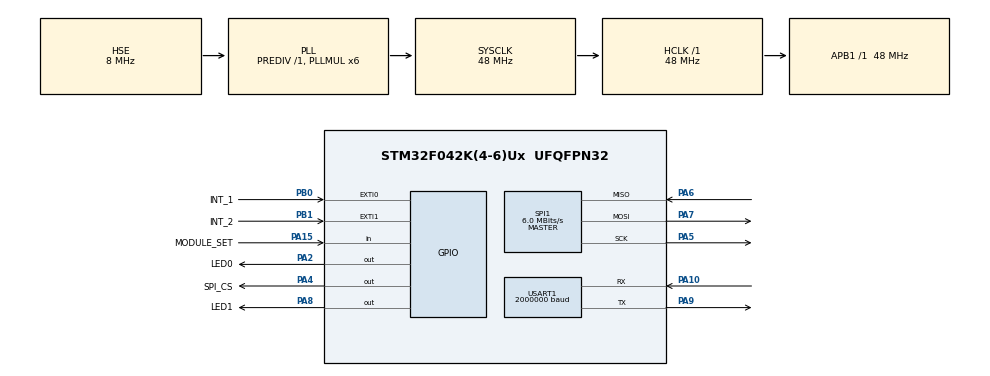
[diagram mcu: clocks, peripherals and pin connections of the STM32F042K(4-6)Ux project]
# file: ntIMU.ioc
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Dma.Request0=SPI1_RX
Dma.Request1=SPI1_TX
Dma.Request2=USART1_TX
Dma.SPI1_RX.0.Direction=DMA_PERIPH_TO_MEMORY
Dma.SPI1_RX.0.Instance=DMA1_Channel2
Dma.SPI1_RX.0.MemDataAlignment=DMA_MDATAALIGN_BYTE
Dma.SPI1_RX.0.MemInc=DMA_MINC_ENABLE
Dma.SPI1_RX.0.Mode=DMA_NORMAL
Dma.SPI1_RX.0.PeriphDataAlignment=DMA_PDATAALIGN_BYTE
Dma.SPI1_RX.0.PeriphInc=DMA_PINC_DISABLE
Dma.SPI1_RX.0.Priority=DMA_PRIORITY_LOW
Dma.SPI1_TX.1.Direction=DMA_MEMORY_TO_PERIPH
Dma.SPI1_TX.1.Instance=DMA1_Channel3
Dma.SPI1_TX.1.MemDataAlignment=DMA_MDATAALIGN_BYTE
Dma.SPI1_TX.1.MemInc=DMA_MINC_ENABLE
Dma.SPI1_TX.1.Mode=DMA_NORMAL
Dma.SPI1_TX.1.PeriphDataAlignment=DMA_PDATAALIGN_BYTE
Dma.SPI1_TX.1.PeriphInc=DMA_PINC_DISABLE
Dma.SPI1_TX.1.Priority=DMA_PRIORITY_LOW
Dma.USART1_TX.2.Direction=DMA_MEMORY_TO_PERIPH
Dma.USART1_TX.2.Instance=DMA1_Channel4
Dma.USART1_TX.2.MemDataAlignment=DMA_MDATAALIGN_BYTE
Dma.USART1_TX.2.MemInc=DMA_MINC_ENABLE
Dma.USART1_TX.2.Mode=DMA_NORMAL
Dma.USART1_TX.2.PeriphDataAlignment=DMA_PDATAALIGN_BYTE
Dma.USART1_TX.2.PeriphInc=DMA_PINC_DISABLE
Dma.USART1_TX.2.Priority=DMA_PRIORITY_MEDIUM
Mcu.Family=STM32F0
Mcu.Name=STM32F042K(4-6)Ux
Mcu.Package=UFQFPN32
NVIC.DMA1_Channel2_3_IRQn=true\:0\:0\:false\:false\:true
NVIC.DMA1_Channel4_5_IRQn=true\:0\:0\:false\:false\:true
NVIC.EXTI0_1_IRQn=true\:1\:0\:true\:false\:true
NVIC.SPI1_IRQn=true\:1\:0\:true\:false\:true
NVIC.TIM16_IRQn=true\:2\:0\:true\:false\:true
NVIC.USART1_IRQn=true\:0\:0\:false\:false\:true
PA10.Mode=Asynchronous
PA10.Signal=USART1_RX
PA13.Mode=Serial_Wire
PA13.Signal=SYS_SWDIO
PA14.Mode=Serial_Wire
PA14.Signal=SYS_SWCLK
PA15.GPIO_Label=MODULE_SET
PA15.GPIO_PuPd=GPIO_PULLUP
PA15.Signal=GPIO_Input
PA2.GPIO_Label=LED0
PA2.GPIO_Speed=GPIO_SPEED_FREQ_HIGH
PA2.PinState=GPIO_PIN_SET
PA2.Signal=GPIO_Output
PA4.GPIO_Label=SPI_CS
PA4.GPIO_PuPd=GPIO_PULLUP
PA4.GPIO_Speed=GPIO_SPEED_FREQ_HIGH
PA4.PinState=GPIO_PIN_SET
PA4.Signal=GPIO_Output
PA5.Mode=Full_Duplex_Master
PA5.Signal=SPI1_SCK
PA6.Mode=Full_Duplex_Master
PA6.Signal=SPI1_MISO
PA7.Mode=Full_Duplex_Master
PA7.Signal=SPI1_MOSI
PA8.GPIO_Label=LED1
PA8.GPIO_Speed=GPIO_SPEED_FREQ_HIGH
PA8.PinState=GPIO_PIN_SET
PA8.Signal=GPIO_Output
PA9.Mode=Asynchronous
PA9.Signal=USART1_TX
PB0.GPIO_Label=INT_1
PB0.GPIO_ModeDefaultEXTI=GPIO_MODE_IT_RISING
PB0.Signal=GPXTI0
PB1.GPIO_Label=INT_2
PB1.Signal=GPXTI1
PF0-OSC_IN.Mode=HSE-External-Oscillator
PF0-OSC_IN.Signal=RCC_OSC_IN
PF1-OSC_OUT.Mode=HSE-External-Oscillator
PF1-OSC_OUT.Signal=RCC_OSC_OUT
ProjectManager.HeapSize=0x200
ProjectManager.StackSize=0x400
ProjectManager.TargetToolchain=SW4STM32
RCC.AHBFreq_Value=48000000
RCC.APB1Freq_Value=48000000
RCC.APB1TimFreq_Value=48000000
RCC.HCLKFreq_Value=48000000
RCC.PLLMUL=RCC_PLL_MUL6
RCC.PLLSourceVirtual=RCC_PLLSOURCE_HSE
RCC.SYSCLKFreq_VALUE=48000000
RCC.SYSCLKSource=RCC_SYSCLKSOURCE_PLLCLK
RCC.VDD_VALUE=3.3
SPI1.BaudRatePrescaler=SPI_BAUDRATEPRESCALER_8
SPI1.CalculateBaudRate=6.0 MBits/s
SPI1.DataSize=SPI_DATASIZE_8BIT
SPI1.Direction=SPI_DIRECTION_2LINES
SPI1.Mode=SPI_MODE_MASTER
SPI1.VirtualType=VM_MASTER
USART1.BaudRate=2000000
USART1.VirtualMode-Asynchronous=VM_ASYNC
USART1.WordLength=WORDLENGTH_8B
VP_TIM16_VS_ClockSourceINT.Mode=Enable_Timer
board=ntIMU

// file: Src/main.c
/**
  ******************************************************************************
  * File Name          : main.c
  * Description        : Main program body
  ******************************************************************************
  *
  * COPYRIGHT(c) 2017 STMicroelectronics
  *
  * Redistribution and use in source and binary forms, with or without modification,
  * are permitted provided that the following conditions are met:
  *   1. Redistributions of source code must retain the above copyright notice,
  *      this list of conditions and the following disclaimer.
  *   2. Redistributions in binary form must reproduce the above copyright notice,
  *      this list of conditions and the following disclaimer in the documentation
  *      and/or other materials provided with the distribution.
  *   3. Neither the name of STMicroelectronics nor the names of its contributors
  *      may be used to endorse or promote products derived from this software
  *      without specific prior written permission.
  *
  * THIS SOFTWARE IS PROVIDED BY THE COPYRIGHT HOLDERS AND CONTRIBUTORS "AS IS"
  * AND ANY EXPRESS OR IMPLIED WARRANTIES, INCLUDING, BUT NOT LIMITED TO, THE
  * IMPLIED WARRANTIES OF MERCHANTABILITY AND FITNESS FOR A PARTICULAR PURPOSE ARE
  * DISCLAIMED. IN NO EVENT SHALL THE COPYRIGHT HOLDER OR CONTRIBUTORS BE LIABLE
  * FOR ANY DIRECT, INDIRECT, INCIDENTAL, SPECIAL, EXEMPLARY, OR CONSEQUENTIAL
  * DAMAGES (INCLUDING, BUT NOT LIMITED TO, PROCUREMENT OF SUBSTITUTE GOODS OR
  * SERVICES; LOSS OF USE, DATA, OR PROFITS; OR BUSINESS INTERRUPTION) HOWEVER
  * CAUSED AND ON ANY THEORY OF LIABILITY, WHETHER IN CONTRACT, STRICT LIABILITY,
  * OR TORT (INCLUDING NEGLIGENCE OR OTHERWISE) ARISING IN ANY WAY OUT OF THE USE
  * OF THIS SOFTWARE, EVEN IF ADVISED OF THE POSSIBILITY OF SUCH DAMAGE.
  *
  ******************************************************************************
  */
#include "main.h"
#include "stm32f0xx_hal.h"
#include "dma.h"
#include "spi.h"
#include "tim.h"
#include "usart.h"
#include "gpio.h"

/* USER CODE BEGIN Includes */
#include "nt.h"
#include "lsm6dsl.h"
#include "myFunc.h"
#include "string.h"
/* USER CODE END Includes */

/* USER CODE BEGIN PV */
/* Private variables ---------------------------------------------------------*/
volatile uint8_t xgDRDY = 0;
volatile uint8_t rxChar;
ntImuConf imuConfig;
uint8_t connection = 255;
/* USER CODE END PV */

void SystemClock_Config(void);
void Error_Handler(void);

/* USER CODE BEGIN PFP */
/* Private function prototypes -----------------------------------------------*/
void UART_EnableRIT(UART_HandleTypeDef *huart);
/* USER CODE END PFP */

int main(void)
{

  /* MCU Configuration----------------------------------------------------------*/

  /* Reset of all peripherals, Initializes the Flash interface and the Systick. */
  HAL_Init();

  /* Configure the system clock */
  SystemClock_Config();

  /* Initialize all configured peripherals */
  MX_GPIO_Init();
  MX_DMA_Init();
  MX_SPI1_Init();
  MX_TIM16_Init();
  MX_USART1_UART_Init();

  /* USER CODE BEGIN 2 */
  imuConfig.ntUart = &huart1;
  ntInit(&imuConfig);
  UART_EnableRIT(&huart1);
	htim16.Init.Prescaler = 9999;
	if (imuConfig.myID == NTBUS_ID_IMU1) {
		htim16.Init.Period = (SystemCoreClock / (htim16.Init.Prescaler+1)) / 5 - 1;
	}
	else {
		htim16.Init.Period = (SystemCoreClock / (htim16.Init.Prescaler+1)) / 2 - 1;
	}
	if (HAL_TIM_Base_Init(&htim16) != HAL_OK)
	{
		Error_Handler();
	}
	while (LSM6DSL_Init(&hspi1));
	HAL_TIM_Base_Start_IT(&htim16);
  /* USER CODE END 2 */

  /* Infinite loop */
  /* USER CODE BEGIN WHILE */
  uint32_t start = HAL_GetTick();
  while (1)
  {
	int16_t acc[3], gyro[3], temperature;
	if(xgDRDY || ((HAL_GetTick() - start) > 1000)) {
		xgDRDY = 0;
		start = HAL_GetTick();
		uint8_t temp;
		LSM6DSL_ACC_GYRO_ReadReg(LSM6DSL_ACC_GYRO_STATUS_REG, &temp, 1);
		if (temp & 0x01) {
		  //read func
		  LSM6DSL_AccRaw(acc);
		  if ((-32768 < imuConfig.imuData->AccX && imuConfig.imuData->AccX < 32767) &&
				  (-32768 < imuConfig.imuData->AccY && imuConfig.imuData->AccY < 32767) &&
				  (-32768 < imuConfig.imuData->AccZ && imuConfig.imuData->AccZ < 32767)) {
			  imuConfig.imuData->ImuStatus |= NTBUS_IMU_IMUSTATUS_ACCDATA_OK;
			  imuConfig.imuData->ImuStatus &= ~(NTBUS_IMU_IMUSTATUS_ACC_CLIPPED);
		  }
		  else {
			  imuConfig.imuData->ImuStatus |= NTBUS_IMU_IMUSTATUS_ACC_CLIPPED;
			  imuConfig.imuData->ImuStatus &= ~(NTBUS_IMU_IMUSTATUS_ACCDATA_OK);
		  }
		}
		if (temp & 0x02) {
		  //read function
		  LSM6DSL_GyroRaw(gyro);
		  if ((-32768 < imuConfig.imuData->GyroX && imuConfig.imuData->GyroX < 32767) &&
							  (-32768 < imuConfig.imuData->GyroY && imuConfig.imuData->GyroY < 32767) &&
							  (-32768 < imuConfig.imuData->GyroZ && imuConfig.imuData->GyroZ < 32767)) {
			  imuConfig.imuData->ImuStatus |= NTBUS_IMU_IMUSTATUS_GYRODATA_OK;
			  imuConfig.imuData->ImuStatus &= ~(NTBUS_IMU_IMUSTATUS_GYRO_CLIPPED);
		  }
		  else {
			  imuConfig.imuData->ImuStatus |= NTBUS_IMU_IMUSTATUS_GYRO_CLIPPED;
			  imuConfig.imuData->ImuStatus &= ~(NTBUS_IMU_IMUSTATUS_GYRODATA_OK);
		  }
		}
		if (temp & 0x04) {
		  LSM6DSL_TempRaw(&temperature);
		}
		memcpy(&imuConfig.imuData->AccX, acc, 6);
		memcpy(&imuConfig.imuData->GyroX, gyro, 6);
		memcpy(&imuConfig.imuData->Temp, &temperature, 2);
	}
	if (connection-- > 1) {
		HAL_GPIO_WritePin(LED0_GPIO_Port, LED0_Pin, GPIO_PIN_RESET);
	} else {
		if (connection == 0) connection = 1;
		HAL_GPIO_WritePin(LED0_GPIO_Port, LED0_Pin, GPIO_PIN_SET);
	}
  /* USER CODE END WHILE */

  }

}

/** System Clock Configuration
*/
void SystemClock_Config(void)
{

  RCC_OscInitTypeDef RCC_OscInitStruct;
  RCC_ClkInitTypeDef RCC_ClkInitStruct;
  RCC_PeriphCLKInitTypeDef PeriphClkInit;

    /**Initializes the CPU, AHB and APB busses clocks
    */
  RCC_OscInitStruct.OscillatorType = RCC_OSCILLATORTYPE_HSE;
  RCC_OscInitStruct.HSEState = RCC_HSE_ON;
  RCC_OscInitStruct.HSIState = RCC_HSI_ON;
  RCC_OscInitStruct.PLL.PLLState = RCC_PLL_ON;
  RCC_OscInitStruct.PLL.PLLSource = RCC_PLLSOURCE_HSE;
  RCC_OscInitStruct.PLL.PLLMUL = RCC_PLL_MUL6;
  RCC_OscInitStruct.PLL.PREDIV = RCC_PREDIV_DIV1;
  if (HAL_RCC_OscConfig(&RCC_OscInitStruct) != HAL_OK)
  {
    Error_Handler();
  }

    /**Initializes the CPU, AHB and APB busses clocks
    */
  RCC_ClkInitStruct.ClockType = RCC_CLOCKTYPE_HCLK|RCC_CLOCKTYPE_SYSCLK
                              |RCC_CLOCKTYPE_PCLK1;
  RCC_ClkInitStruct.SYSCLKSource = RCC_SYSCLKSOURCE_PLLCLK;
  RCC_ClkInitStruct.AHBCLKDivider = RCC_SYSCLK_DIV1;
  RCC_ClkInitStruct.APB1CLKDivider = RCC_HCLK_DIV1;

  if (HAL_RCC_ClockConfig(&RCC_ClkInitStruct, FLASH_LATENCY_1) != HAL_OK)
  {
    Error_Handler();
  }

  PeriphClkInit.PeriphClockSelection = RCC_PERIPHCLK_USART1;
  PeriphClkInit.Usart1ClockSelection = RCC_USART1CLKSOURCE_PCLK1;
  if (HAL_RCCEx_PeriphCLKConfig(&PeriphClkInit) != HAL_OK)
  {
    Error_Handler();
  }

    /**Configure the Systick interrupt time
    */
  HAL_SYSTICK_Config(HAL_RCC_GetHCLKFreq()/1000);

    /**Configure the Systick
    */
  HAL_SYSTICK_CLKSourceConfig(SYSTICK_CLKSOURCE_HCLK);

  /* SysTick_IRQn interrupt configuration */
  HAL_NVIC_SetPriority(SysTick_IRQn, 0, 0);
}

/* USER CODE BEGIN 4 */
void UART_EnableRIT(UART_HandleTypeDef *huart) {
	UART_MASK_COMPUTATION(huart);
	/* Enable the UART Error Interrupt: (Frame error, noise error, overrun error) */
	SET_BIT(huart->Instance->CR3, USART_CR3_EIE);

	/* Enable the UART Parity Error and Data Register not empty Interrupts */
	SET_BIT(huart->Instance->CR1, USART_CR1_PEIE | USART_CR1_RXNEIE);
}

void UART_RIT(UART_HandleTypeDef *huart) {
	if ((huart->Instance->ISR & USART_ISR_RXNE) && (huart->Instance->CR1 & USART_CR1_RXNEIE)) {
		uint8_t data = huart->Instance->RDR & 0xff;
		ntParseCommand(data);
		connection = 255;
	}
}

void HAL_UART_ErrorCallback(UART_HandleTypeDef *huart) {
	if (huart == &huart1) {
		UART_EnableRIT(&huart1);
	}
}

void HAL_GPIO_EXTI_Callback(uint16_t GPIO_Pin) {
	if (GPIO_Pin == INT_2_Pin) {
		xgDRDY = 1;
	}
}

void HAL_TIM_PeriodElapsedCallback(TIM_HandleTypeDef *htim) {
	if (htim == &htim16) {
		HAL_GPIO_TogglePin(LED1_GPIO_Port, LED1_Pin);
	}
}
/* USER CODE END 4 */

void Error_Handler(void)
{
  while(1)
  {
  }
}

/************************ (C) COPYRIGHT STMicroelectronics *****END OF FILE****/
